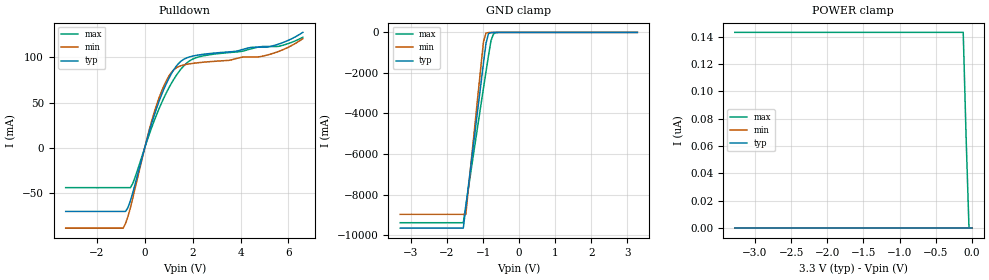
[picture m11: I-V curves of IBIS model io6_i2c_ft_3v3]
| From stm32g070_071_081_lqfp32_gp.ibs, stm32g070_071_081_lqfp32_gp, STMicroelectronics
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|   Model io6_i2c_ft_3v3
[Model]  io6_i2c_ft_3v3
Model_type I/O_open_drain
Polarity   Non-Inverting
Enable   Active-High
Vinl =   0.990000V
Vinh =   2.310000V
Vmeas =  1.650000V
Cref =   30.000000pF
Rref =   100.000000
Vref =   3.600000V
C_comp   2.033100pF   1.980600pF   2.082100pF
[Temperature Range]   25.000000   -40.000000   0.125000k
[Pullup Reference]   3.300000V   3.000000V   3.600000V
[Pulldown Reference]   0.0V   0.0V   0.0V
[POWER Clamp Reference]   3.300000V   3.000000V   3.600000V
[GND Clamp Reference]   0.0V   0.0V   0.0V
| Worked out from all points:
|   slope of the pulldown table from 0 to 0.495 V, typ, clamps not added: 11.3 ohm
|   GND clamp passes 1 mA (typ) near -0.58 V on its own axis
[Pulldown]
|Voltage   I(typ)   I(min)   I(max)
-3.3V     -70.17mA   -88.58mA   -43.95mA
-900mV    -70.17mA   -88.58mA   -43.95mA
-700mV    -65.85mA   -75.74mA   -43.95mA
-500mV    -49.6mA    -55.5mA    -39.37mA
100mV     9.759mA    10.83mA    8.012mA
500mV     44.06mA    47.69mA    36.87mA
900mV     70.75mA    73.99mA    60.62mA
1.3V      89.49mA    87.96mA    79.19mA
1.7V      98.65mA    91.88mA    92.3mA
2.2V      102.2mA    93.84mA    99.89mA
5V        111.1mA    101.7mA    111.8mA
6.6V      127.4mA    120.5mA    122mA
[GND_clamp]
|Voltage   I(typ)   I(min)   I(max)
-3.3V     -9.654A    -8.974A    -9.386A
-1.55V    -9.654A    -8.974A    -9.386A
-1.48V    -8.632A    -8.974A    -8.549A
-990mV    -1.519A    -464.6mA   -2.752A
-920mV    -535.3mA   -33.4mA    -1.941A
-850mV    -61.84mA   -8.927mA   -1.147A
-780mV    -11.5mA    -4.931mA   -400.9mA
-710mV    -4.633mA   -2.361mA   -72.05mA
-640mV    -2.18mA    -760.8uA   -15.81mA
3.28V     0A         0A         0A
[POWER_clamp]
|Voltage   I(typ)   I(min)   I(max)
-3.28V    0A         0A         143.3nA
-120mV    0A         0A         143.3nA
-80mV     0A         0A         66.35nA
-40mV     0A         0A         0A
0V        0A         0A         0A
[Ramp]
| variable   typ   min   max
dV/dt_r  1.60433/0.70922n   1.48592/0.61239n   1.67459/0.71435n
dV/dt_f  1.60433/1.86350n   1.48592/1.89955n   1.67459/2.07939n
R_load = 50.000000
|End [Model] io6_i2c_ft_3v3
